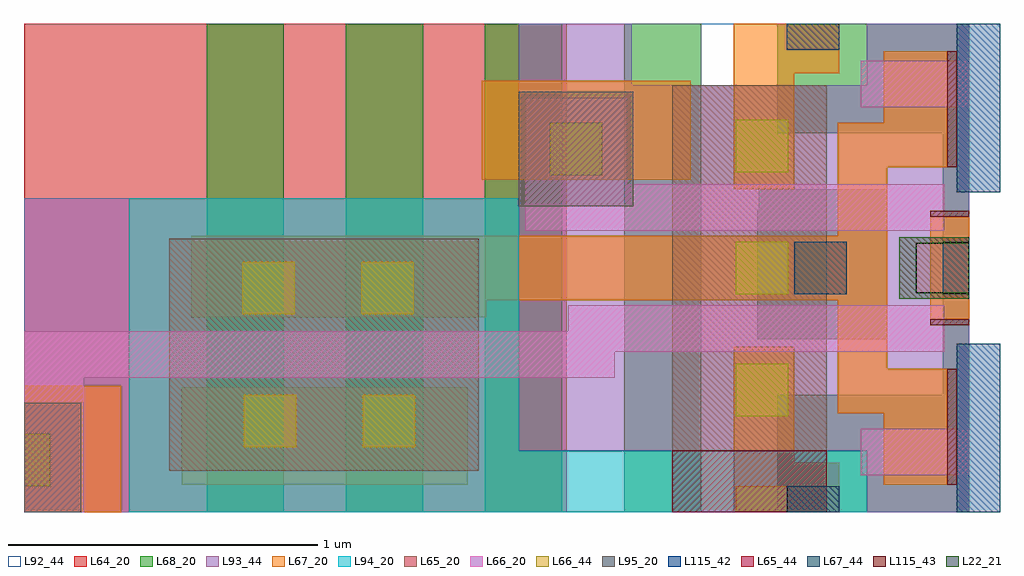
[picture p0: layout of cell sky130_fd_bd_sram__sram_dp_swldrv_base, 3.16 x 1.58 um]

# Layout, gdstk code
from math import pi, radians
import gdstk
lib = gdstk.Library(unit=1e-6, precision=1e-09)
def R(c, l, rs):  # rectangles x0, y0, x1, y1
    for r in rs: c.add(gdstk.rectangle(r[:2], r[2:], *l))
def A(c, l, x, y, w, h, nx, ny, dx, dy):  # array of equal rectangles
    R(c, l, [(x+i*dx, y+j*dy, x+i*dx+w, y+j*dy+h) for i in range(nx) for j in range(ny)])
def P(c, l, *ps):  # polygons
    for p in ps: c.add(gdstk.Polygon(p, *l))
L22_21 = (22, 21)
L64_20 = (64, 20)
L65_20 = (65, 20)
L65_44 = (65, 44)
L66_20 = (66, 20)
L66_44 = (66, 44)
L67_20 = (67, 20)
L67_44 = (67, 44)
L68_20 = (68, 20)
L92_44 = (92, 44)
L93_44 = (93, 44)
L94_20 = (94, 20)
L95_20 = (95, 20)
L115_42 = (115, 42)
L115_43 = (115, 43)

sky130_fd_bd_sram__sram_ = lib.new_cell('sky130_fd_bd_sram__sram_dp_licon_05')
R(sky130_fd_bd_sram__sram_, L66_44, [(-0.085,0,0.085,0.085)])

c_sky130_fd_bd_sram__sram_ = lib.new_cell('sky130_fd_bd_sram__sram_dp_licon_1')
c_sky130_fd_bd_sram__sram_.add(gdstk.Reference(sky130_fd_bd_sram__sram_, (0,0)))
c_sky130_fd_bd_sram__sram_.add(gdstk.Reference(sky130_fd_bd_sram__sram_, (0,0), x_reflection=True))

c_sky130_fd_bd_sram__sram__ = lib.new_cell('sky130_fd_bd_sram__sram_dp_swldrv_base')
R(c_sky130_fd_bd_sram__sram__, L22_21, [(-0.225,0.69,-0.17,0.89), (-0.17,0.69,0,0.71), (-0.17,0.87,0,0.89)])
R(c_sky130_fd_bd_sram__sram__, L64_20, [(-3.055,0,-1.3,1.58)])
R(c_sky130_fd_bd_sram__sram__, L65_20, [(-2.585,0.135,-1.585,0.885), (-0.96,0.2,-0.46,1.38), (-0.17,0.71,0,0.87)])
R(c_sky130_fd_bd_sram__sram__, L65_44, [(-0.96,0,-0.46,0.2)])
R(c_sky130_fd_bd_sram__sram__, L66_20, [(-3.055,0,-2.86,0.585), (-0.35,0.12,0,0.27), (-0.35,0.12,0,0.27), (-0.35,1.31,0,1.46), (-0.35,1.31,0,1.46)])
P(c_sky130_fd_bd_sram__sram__, L66_20, [(-1.435,0.91),(-1.435,1.34),(-1.105,1.34),(-1.105,1.06),(-0.08,1.06),(-0.08,0.91)],
  [(-2.86,0.435),(-2.86,0.585),(-1.295,0.585),(-1.295,0.67),(-0.08,0.67),(-0.08,0.52),(-1.145,0.52),(-1.145,0.435)])
A(c_sky130_fd_bd_sram__sram__, L66_44, -0.755, 0.31, 0.17, 0.17, 1, 3, 0, 0.395)
R(c_sky130_fd_bd_sram__sram__, L66_44, [(-0.755,0,-0.585,0.085), (-0.085,0.705,0,0.875), (-1.355,1.09,-1.185,1.26)])
R(c_sky130_fd_bd_sram__sram__, L67_20, [(-3.055,0,-2.74,0.41), (-2.545,0.09,-1.62,0.405), (-0.125,0.625,0,0.955), (-1.575,1.075,-0.9,1.395)])
P(c_sky130_fd_bd_sram__sram__, L67_20, [(-2.515,0.63),(-2.515,0.895),(-0.265,0.895),(-0.265,0.685),(-1.56,0.685),(-1.56,0.63)],
  [(-0.76,1.045),(-0.76,1.58),(-0.42,1.58),(-0.42,1.42),(-0.565,1.42),(-0.565,1.045)],
  [(-0.275,0.09),(-0.275,0.32),(-0.425,0.32),(-0.425,0.895),(-0.265,0.895),(-0.265,0.465),(-0.07,0.465),(-0.07,0.09)],
  [(-0.425,0.685),(-0.425,1.26),(-0.275,1.26),(-0.275,1.49),(-0.07,1.49),(-0.07,1.115),(-0.265,1.115),(-0.265,0.685)],
  [(-0.76,0),(-0.76,0.535),(-0.565,0.535),(-0.565,0.16),(-0.42,0.16),(-0.42,0)])
R(c_sky130_fd_bd_sram__sram__, L67_44, [(-0.59,0,-0.42,0.085), (-0.565,0.705,-0.395,0.875), (-0.085,0.705,0,0.875), (-0.59,1.495,-0.42,1.58)])
A(c_sky130_fd_bd_sram__sram__, L68_20, -2.465, 0, 0.25, 1.58, 4, 1, 0.45, 0)
P(c_sky130_fd_bd_sram__sram__, L68_20, [(-0.62,0),(-0.62,0.38),(-0.085,0.38),(-0.085,1.225),(-0.62,1.225),(-0.62,1.58),(0,1.58),(0,0)],
  [(-0.685,0.56),(-0.685,0.98),(-0.68,0.98),(-0.68,1.045),(-0.265,1.045),(-0.265,0.56)])
R(c_sky130_fd_bd_sram__sram__, L92_44, [(-3.055,0,0,1.58)])
R(c_sky130_fd_bd_sram__sram__, L93_44, [(-3.055,0,-2.715,1.015), (-1.455,0.2,-1.09,0.91), (-1.455,0.91,-1.09,1.58)])
P(c_sky130_fd_bd_sram__sram__, L93_44, [(-0.33,0),(-0.33,0.2),(-1.09,0.2),(-1.09,1.38),(-0.33,1.38),(-0.33,1.58),(0,1.58),(0,0)])
R(c_sky130_fd_bd_sram__sram__, L94_20, [(-1.35,0,-0.33,0.2)])
P(c_sky130_fd_bd_sram__sram__, L94_20, [(-2.715,0),(-2.715,1.015),(-1.455,1.015),(-1.455,0.2),(-1.09,0.2),(-1.09,0)])
R(c_sky130_fd_bd_sram__sram__, L95_20, [(-3.055,0,-2.87,0.355), (-1.455,0.99,-1.085,1.36)])
R(c_sky130_fd_bd_sram__sram__, L115_42, [(-0.04,0,0.1,0.545), (-0.04,1.035,0.1,1.58)])
R(c_sky130_fd_bd_sram__sram__, L115_43, [(-0.07,0.09,-0.04,0.465), (-0.125,0.605,0,0.625), (-0.125,0.955,0,0.975), (-0.07,1.115,-0.04,1.49)])
c_sky130_fd_bd_sram__sram__.add(gdstk.Reference(c_sky130_fd_bd_sram__sram_, (-2.26,0.295)))
c_sky130_fd_bd_sram__sram__.add(gdstk.Reference(c_sky130_fd_bd_sram__sram_, (-1.875,0.295)))
c_sky130_fd_bd_sram__sram__.add(gdstk.Reference(c_sky130_fd_bd_sram__sram_, (-1.88,0.725)))
c_sky130_fd_bd_sram__sram__.add(gdstk.Reference(c_sky130_fd_bd_sram__sram_, (-2.265,0.725)))
c_sky130_fd_bd_sram__sram__.add(gdstk.Reference(sky130_fd_bd_sram__sram_, (-3.055,0.17), rotation=3*pi/2))

lib.write_gds('sky130_fd_bd_sram__sram_dp_swldrv_base.gds')
